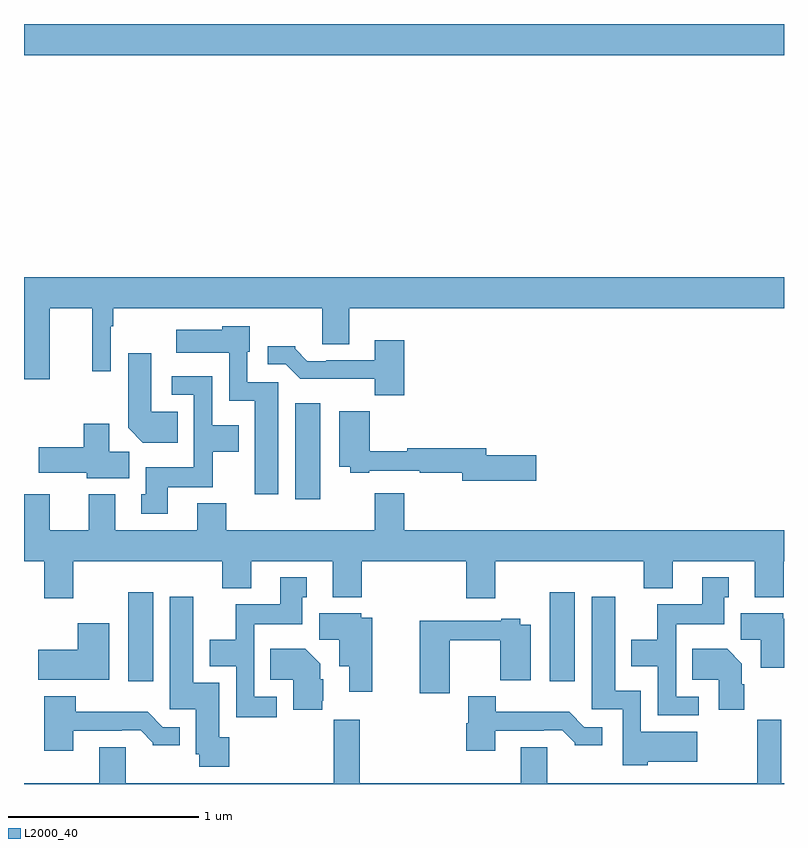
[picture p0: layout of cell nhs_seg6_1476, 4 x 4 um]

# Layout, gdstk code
import gdstk
lib = gdstk.Library(unit=1e-6, precision=1e-09)
def R(c, l, rs):  # rectangles x0, y0, x1, y1
    for r in rs: c.add(gdstk.rectangle(r[:2], r[2:], *l))
def P(c, l, *ps):  # polygons
    for p in ps: c.add(gdstk.Polygon(p, *l))
L2000_40 = (2000, 40)

nhs_seg6_1476 = lib.new_cell('nhs_seg6_1476')
R(nhs_seg6_1476, L2000_40, [(201.548,944.04,201.679,944.509), (203.768,944.04,203.899,944.509), (202.427,945,202.558,945.505), (201,947.336,205,947.5)])
P(nhs_seg6_1476, L2000_40, [(201.136,946.004),(201.358,946.004),(201.358,945.672),(201.456,945.672),(201.456,945.908),(201.469,945.908),(201.469,946.004),(202.571,946.004),(202.571,945.814),(202.711,945.814),(202.711,946.004),(205,946.004),(205,946.168),(201,946.168),(201,945.63),(201.136,945.63)],
  [(202.339,945.615),(202.176,945.615),(202.176,945.774),(202.189,945.774),(202.189,945.91),(202.044,945.91),(202.044,945.892),(201.801,945.892),(201.801,945.77),(202.08,945.77),(202.08,945.518),(202.214,945.518),(202.214,945.024),(202.339,945.024)],
  [(203,945.835),(202.847,945.835),(202.847,945.729),(202.591,945.729),(202.591,945.726),(202.492,945.726),(202.428,945.79),(202.428,945.805),(202.284,945.805),(202.284,945.708),(202.377,945.708),(202.453,945.632),(202.845,945.632),(202.845,945.545),(203,945.545)],
  [(201.809,945.46),(201.67,945.46),(201.67,945.766),(201.548,945.766),(201.548,945.374),(201.626,945.296),(201.809,945.296)],
  [(201.757,945.062),(201.993,945.062),(201.993,945.248),(202.129,945.248),(202.129,945.388),(201.99,945.388),(201.99,945.645),(201.777,945.645),(201.777,945.549),(201.894,945.549),(201.894,945.166),(201.641,945.166),(201.641,945.024),(201.617,945.024),(201.617,944.922),(201.757,944.922)],
  [(203.695,945.23),(203.434,945.23),(203.434,945.266),(203.018,945.266),(203.018,945.251),(202.82,945.251),(202.82,945.463),(202.658,945.463),(202.658,945.17),(202.716,945.17),(202.716,945.138),(202.816,945.138),(202.816,945.15),(203.083,945.15),(203.083,945.138),(203.306,945.138),(203.306,945.095),(203.695,945.095)],
  [(201.553,945.248),(201.448,945.248),(201.448,945.397),(201.314,945.397),(201.314,945.272),(201.078,945.272),(201.078,945.137),(201.33,945.137),(201.33,945.11),(201.553,945.11)],
  [(201.259,944.672),(202.043,944.672),(202.043,944.531),(202.195,944.531),(202.195,944.672),(202.625,944.672),(202.625,944.483),(202.778,944.483),(202.778,944.672),(203.327,944.672),(203.327,944.478),(203.479,944.478),(203.479,944.672),(204.263,944.672),(204.263,944.531),(204.415,944.531),(204.415,944.672),(204.845,944.672),(204.845,944.483),(204.998,944.483),(204.998,944.672),(205,944.672),(205,944.836),(203,944.836),(203,945.031),(202.847,945.031),(202.847,944.836),(202.064,944.836),(202.064,944.977),(201.911,944.977),(201.911,944.836),(201.481,944.836),(201.481,945.025),(201.341,945.025),(201.341,944.836),(201.136,944.836),(201.136,945.025),(201,945.025),(201,944.672),(201.107,944.672),(201.107,944.478),(201.259,944.478)],
  [(202.33,943.959),(202.212,943.959),(202.212,944.342),(202.465,944.342),(202.465,944.484),(202.489,944.484),(202.489,944.587),(202.349,944.587),(202.349,944.446),(202.114,944.446),(202.114,944.26),(201.977,944.26),(201.977,944.12),(202.116,944.12),(202.116,943.851),(202.33,943.851)],
  [(204.55,943.959),(204.432,943.959),(204.432,944.342),(204.685,944.342),(204.685,944.484),(204.709,944.484),(204.709,944.587),(204.569,944.587),(204.569,944.446),(204.334,944.446),(204.334,944.26),(204.197,944.26),(204.197,944.12),(204.336,944.12),(204.336,943.863),(204.55,943.863)],
  [(204.282,943.616),(204.544,943.616),(204.544,943.774),(204.246,943.774),(204.246,943.99),(204.112,943.99),(204.112,944.485),(203.987,944.485),(203.987,943.893),(204.15,943.893),(204.15,943.598),(204.282,943.598)],
  [(202.079,943.746),(202.027,943.746),(202.027,944.032),(201.892,944.032),(201.892,944.485),(201.767,944.485),(201.767,943.893),(201.905,943.893),(201.905,943.656),(201.922,943.656),(201.922,943.59),(202.079,943.59)],
  [(202.834,944.374),(202.776,944.374),(202.776,944.398),(202.553,944.398),(202.553,944.26),(202.658,944.26),(202.658,944.12),(202.712,944.12),(202.712,943.986),(202.834,943.986)],
  [(205,944.371),(204.996,944.371),(204.996,944.398),(204.773,944.398),(204.773,944.26),(204.878,944.26),(204.878,944.112),(205,944.112)],
  [(203.242,944.257),(203.506,944.257),(203.506,944.045),(203.668,944.045),(203.668,944.338),(203.613,944.338),(203.613,944.371),(203.513,944.371),(203.513,944.358),(203.084,944.358),(203.084,943.977),(203.242,943.977)],
  [(201.448,944.347),(201.284,944.347),(201.284,944.206),(201.075,944.206),(201.075,944.048),(201.448,944.048)],
  [(204.791,944.024),(204.778,944.024),(204.778,944.134),(204.7,944.212),(204.517,944.212),(204.517,944.048),(204.656,944.048),(204.656,943.89),(204.791,943.89)],
  [(202.57,943.938),(202.576,943.938),(202.576,944.052),(202.558,944.052),(202.558,944.134),(202.48,944.212),(202.297,944.212),(202.297,944.048),(202.418,944.048),(202.418,943.891),(202.57,943.891)],
  [(201.259,943.779),(201.515,943.779),(201.515,943.782),(201.614,943.782),(201.678,943.718),(201.678,943.703),(201.82,943.703),(201.82,943.8),(201.729,943.8),(201.651,943.879),(201.272,943.879),(201.272,943.963),(201.107,943.963),(201.107,943.674),(201.259,943.674)],
  [(203.479,943.779),(203.735,943.779),(203.735,943.782),(203.834,943.782),(203.898,943.718),(203.898,943.703),(204.043,943.703),(204.043,943.8),(203.949,943.8),(203.871,943.879),(203.482,943.879),(203.482,943.963),(203.339,943.963),(203.339,943.821),(203.327,943.821),(203.327,943.674),(203.479,943.674)],
  [(205,943.504),(204.986,943.504),(204.986,943.837),(204.858,943.837),(204.858,943.504),(203.755,943.504),(203.755,943.694),(203.615,943.694),(203.615,943.504),(202.766,943.504),(202.766,943.837),(202.63,943.837),(202.63,943.504),(201.535,943.504),(201.535,943.694),(201.395,943.694),(201.395,943.504),(201,943.504),(201,943.5),(205,943.5)])

lib.write_gds('nhs_seg6_1476.gds')
